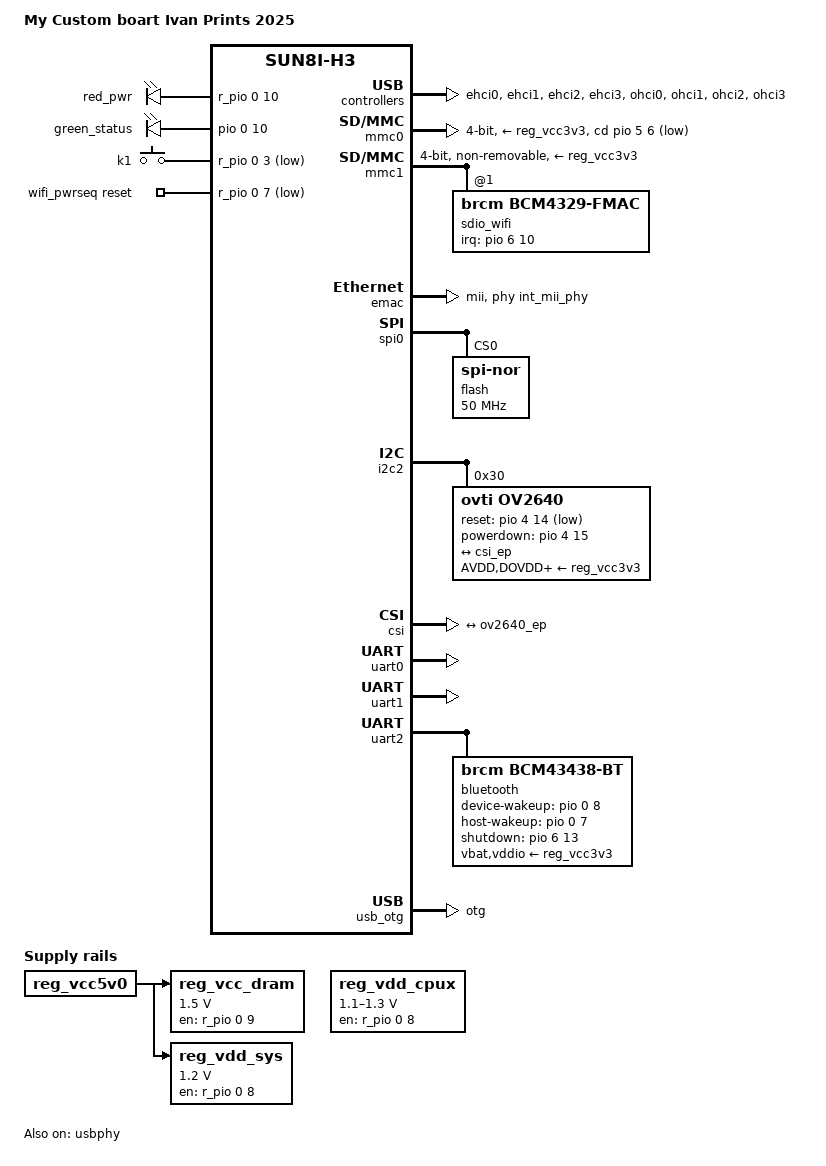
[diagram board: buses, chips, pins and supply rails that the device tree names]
// SPDX-License-Identifier: (GPL-2.0+ OR MIT)
/*
 * Copyright (C) 2019 Karl Palsson <karlp@tweak.net.au>
 */

/dts-v1/;
#include "sun8i-h3.dtsi"
#include "sunxi-common-regulators.dtsi"

#include <dt-bindings/gpio/gpio.h>
#include <dt-bindings/input/input.h>

/ {
	model = "My Custom boart Ivan Prints 2025";
	compatible = "friendlyarm,nanopi-duo2", "allwinner,sun8i-h3";

	aliases {
		serial0 = &uart0;
	};

	chosen {
		stdout-path = "serial0:115200n8";
	};

	leds {
		compatible = "gpio-leds";

		led-0 {
			label = "red_pwr";
			gpios = <&r_pio 0 10 GPIO_ACTIVE_HIGH>; /* PL10 */
			#default-state = "on";
			linux,default-trigger = "heartbeat";
		};

		led-1 {
			label = "green_status";
			gpios = <&pio 0 10 GPIO_ACTIVE_HIGH>; /* PA10 */
			#default-state = "on";
			linux,default-trigger = "cpu";
		};
	};

	gpio-keys {
		compatible = "gpio-keys";

		key-0 {
			label = "k1";
			linux,code = <BTN_0>;
			gpios = <&r_pio 0 3 GPIO_ACTIVE_LOW>; /* PL3 */
		};
	};

	reg_vdd_cpux: vdd-cpux-regulator {
		compatible = "regulator-gpio";
		regulator-name = "vdd-cpux";
		regulator-min-microvolt = <1100000>;
		regulator-max-microvolt = <1300000>;
		regulator-always-on;
		regulator-boot-on;
		regulator-ramp-delay = <50>; /* 4ms */

		enable-active-high;
		enable-gpios = <&r_pio 0 8 GPIO_ACTIVE_HIGH>; /* PL8 */
		gpios = <&r_pio 0 6 GPIO_ACTIVE_HIGH>; /* PL6 */
		gpios-states = <0x1>;
		states = <1100000 0>, <1300000 1>;
	};

	reg_vcc_dram: vcc-dram {
		compatible = "regulator-fixed";
		regulator-name = "vcc-dram";
		regulator-min-microvolt = <1500000>;
		regulator-max-microvolt = <1500000>;
		regulator-always-on;
		regulator-boot-on;
		enable-active-high;
		gpio = <&r_pio 0 9 GPIO_ACTIVE_HIGH>; /* PL9 */
		vin-supply = <&reg_vcc5v0>;
        };

	reg_vdd_sys: vdd-sys {
		compatible = "regulator-fixed";
		regulator-name = "vdd-sys";
		regulator-min-microvolt = <1200000>;
		regulator-max-microvolt = <1200000>;
		regulator-always-on;
		regulator-boot-on;
		enable-active-high;
		gpio = <&r_pio 0 8 GPIO_ACTIVE_HIGH>; /* PL8 */
		vin-supply = <&reg_vcc5v0>;
        };

	wifi_pwrseq: pwrseq {
		compatible = "mmc-pwrseq-simple";
		reset-gpios = <&r_pio 0 7 GPIO_ACTIVE_LOW>; /* PL7 */
		clocks = <&rtc CLK_OSC32K_FANOUT>;
		clock-names = "ext_clock";
	};

};

&cpu0 {
	cpu-supply = <&reg_vdd_cpux>;
};

&ehci0 {
	status = "okay";
};

&ehci1 {
	status = "okay";
};

&ehci2 {
	status = "okay";
};

&ehci3 {
	status = "okay";
};

&mmc0 {
	bus-width = <4>;
	cd-gpios = <&pio 5 6 GPIO_ACTIVE_LOW>; /* PF6 */
	status = "okay";
	vmmc-supply = <&reg_vcc3v3>;
};

&mmc1 {
	vmmc-supply = <&reg_vcc3v3>;
	vqmmc-supply = <&reg_vcc3v3>;
	mmc-pwrseq = <&wifi_pwrseq>;
	bus-width = <4>;
	non-removable;
	status = "okay";

	sdio_wifi: wifi@1 {
		reg = <1>;
		compatible = "brcm,bcm4329-fmac";
		interrupt-parent = <&pio>;
		interrupts = <6 10 IRQ_TYPE_LEVEL_LOW>; /* PG10 / EINT10 */
		interrupt-names = "host-wake";
	};
};

&ohci0 {
	status = "okay";
};

&ohci1 {
	status = "okay";
};

&ohci2 {
	status = "okay";
};

&ohci3 {
	status = "okay";
};

&reg_usb0_vbus {
	gpio = <&r_pio 0 2 GPIO_ACTIVE_HIGH>; /* PL2 */
	status = "okay";
};

&emac {
    phy-handle = <&int_mii_phy>;
    phy-mode = "mii";
    allwinner,leds-active-low;
    status = "okay";
};

&spi0 {
    status = "okay";
    pinctrl-names = "default";
    pinctrl-0 = <&spi0_pins>;

    flash@0 {
        compatible = "jedec,spi-nor";
        reg = <0>;
        spi-max-frequency = <50000000>;
    };
};



&i2c2 {
    pinctrl-names = "default";
    pinctrl-0 = <&i2c2_pins>;
    status = "okay";

    ov2640: camera@30 {
        compatible = "ovti,ov2640";
        reg = <0x30>;
        clocks = <&ccu CLK_CSI_MCLK>;
        clock-names = "xclk";
        
        reset-gpios = <&pio 4 14 GPIO_ACTIVE_LOW>; /* PE14 */
        powerdown-gpios = <&pio 4 15 GPIO_ACTIVE_HIGH>; /* PE15 */
        
        AVDD-supply = <&reg_vcc3v3>;
        DOVDD-supply = <&reg_vcc3v3>;
        DVDD-supply = <&reg_vcc3v3>;

        port {
            ov2640_ep: endpoint {
                remote-endpoint = <&csi_ep>;
                bus-width = <8>;
                hsync-active = <1>;
                vsync-active = <0>;
                data-active = <1>;
                pclk-sample = <1>;
            };
        };
    };
};

&csi {
    status = "okay";
    pinctrl-names = "default";
    pinctrl-0 = <&csi_pins>;

    port {
        csi_ep: endpoint {
            remote-endpoint = <&ov2640_ep>;
            bus-width = <8>;
            hsync-active = <1>;
            vsync-active = <0>;
            data-active = <1>;
            pclk-sample = <1>;
        };
    };
};


&uart0 {
	pinctrl-names = "default";
	pinctrl-0 = <&uart0_pa_pins>;
	status = "okay";
};

&uart1 {
	pinctrl-names = "default";
	pinctrl-0 = <&uart1_pins>;
	status = "okay";
};

&uart2 {
	pinctrl-names = "default";
	pinctrl-0 = <&uart2_pins>, <&uart2_rts_cts_pins>;
	uart-has-rtscts;
	status = "okay";

	bluetooth {
		compatible = "brcm,bcm43438-bt";
		clocks = <&rtc CLK_OSC32K_FANOUT>;
		clock-names = "lpo";
		vbat-supply = <&reg_vcc3v3>;
		vddio-supply = <&reg_vcc3v3>;
		device-wakeup-gpios = <&pio 0 8 GPIO_ACTIVE_HIGH>; /* PA8 */
		host-wakeup-gpios = <&pio 0 7 GPIO_ACTIVE_HIGH>; /* PA7 */
		shutdown-gpios = <&pio 6 13 GPIO_ACTIVE_HIGH>; /* PG13 */
	};
};

&usb_otg {
	status = "okay";
	dr_mode = "otg";
};



&usbphy {
	usb0_id_det-gpios = <&pio 6 12 GPIO_ACTIVE_HIGH>; /* PG12 */
	usb0_vbus-supply = <&reg_usb0_vbus>;
	status = "okay";
};
